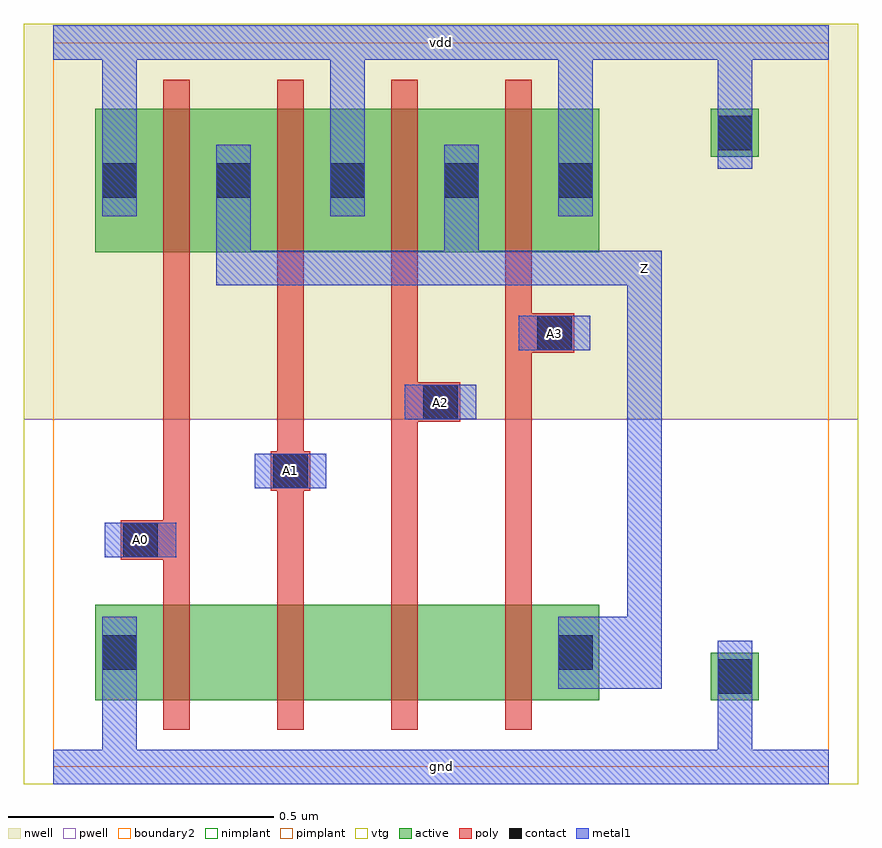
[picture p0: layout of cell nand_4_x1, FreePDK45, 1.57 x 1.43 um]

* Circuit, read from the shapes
.subckt nand_4_x1 A0 A1 A2 A3 Z gnd vdd
M1 sram_1rw0r0w_8_256_freepdk45_nmos_m1_w0_180_sm1_dactive_4/A3 A0 gnd gnd nfet w=0.18u l=0.05u
M2 sram_1rw0r0w_8_256_freepdk45_nmos_m1_w0_180_sactive_dactive_5/A3 A1 sram_1rw0r0w_8_256_freepdk45_nmos_m1_w0_180_sm1_dactive_4/A3 gnd nfet w=0.18u l=0.05u
M3 sram_1rw0r0w_8_256_freepdk45_nmos_m1_w0_180_sactive_dactive_6/A3 A2 sram_1rw0r0w_8_256_freepdk45_nmos_m1_w0_180_sactive_dactive_5/A3 gnd nfet w=0.18u l=0.05u
M4 Z A3 sram_1rw0r0w_8_256_freepdk45_nmos_m1_w0_180_sactive_dactive_6/A3 gnd nfet w=0.18u l=0.05u
M5 Z A0 vdd vdd pfet w=0.27u l=0.05u
M6 vdd A1 Z vdd pfet w=0.27u l=0.05u
M7 Z A2 vdd vdd pfet w=0.27u l=0.05u
M8 vdd A3 Z vdd pfet w=0.27u l=0.05u
.ends

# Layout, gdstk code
import gdstk
lib = gdstk.Library(unit=1e-6, precision=5e-10)
def R(c, l, rs):  # rectangles x0, y0, x1, y1
    for r in rs: c.add(gdstk.rectangle(r[:2], r[2:], *l))
def A(c, l, x, y, w, h, nx, ny, dx, dy):  # array of equal rectangles
    R(c, l, [(x+i*dx, y+j*dy, x+i*dx+w, y+j*dy+h) for i in range(nx) for j in range(ny)])
active = (1, 0)
pwell = (2, 0)
nwell = (3, 0)
nimplant = (4, 0)
pimplant = (5, 0)
vtg = (6, 0)
poly = (9, 0)
contact = (10, 0)
metal1 = (11, 0)
boundary2 = (239, 0)

sram_1rw0r0w_8_256_freep = lib.new_cell('sram_1rw0r0w_8_256_freepdk45_contact_11')
R(sram_1rw0r0w_8_256_freep, active, [(0,0.0225,0.09,0.1125)])
R(sram_1rw0r0w_8_256_freep, nwell, [(-0.055,-0.0325,0.145,0.1675)])
R(sram_1rw0r0w_8_256_freep, pimplant, [(0,0.0225,0.09,0.1125)])
R(sram_1rw0r0w_8_256_freep, contact, [(0.0125,0.035,0.0775,0.1)])
R(sram_1rw0r0w_8_256_freep, metal1, [(0.0125,0,0.0775,0.135)])
R(sram_1rw0r0w_8_256_freep, boundary2, [(-0.055,-0.0325,0.145,0.1675)])

c_sram_1rw0r0w_8_256_freep = lib.new_cell('sram_1rw0r0w_8_256_freepdk45_pmos_m1_w0_270_sm1_dm1')
R(c_sram_1rw0r0w_8_256_freep, active, [(0,0,0.305,0.27)])
R(c_sram_1rw0r0w_8_256_freep, nwell, [(-0.08,-0.08,0.385,0.35)])
R(c_sram_1rw0r0w_8_256_freep, pimplant, [(0,0,0.305,0.27)])
R(c_sram_1rw0r0w_8_256_freep, vtg, [(-0.08,-0.08,0.385,0.35)])
R(c_sram_1rw0r0w_8_256_freep, poly, [(0.1275,-0.055,0.1775,0.325), (0.1275,-0.055,0.1775,0.325)])
R(c_sram_1rw0r0w_8_256_freep, metal1, [(0.0125,0.0675,0.0775,0.2025), (0.2275,0.0675,0.2925,0.2025)])
R(c_sram_1rw0r0w_8_256_freep, boundary2, [(-0.08,-0.08,0.385,0.35)])
c_sram_1rw0r0w_8_256_freep.add(gdstk.Reference(sram_1rw0r0w_8_256_freep, (0,0.0675)))
c_sram_1rw0r0w_8_256_freep.add(gdstk.Reference(sram_1rw0r0w_8_256_freep, (0.215,0.0675)))
c_sram_1rw0r0w_8_256_freep.add(gdstk.Label('G', (0.1525,0.135), layer=9, texttype=0))
c_sram_1rw0r0w_8_256_freep.add(gdstk.Label('S', (0.045,0.135), layer=11, texttype=0))
c_sram_1rw0r0w_8_256_freep.add(gdstk.Label('A3', (0.26,0.135), layer=11, texttype=0))

c_sram_1rw0r0w_8_256_freep_ = lib.new_cell('sram_1rw0r0w_8_256_freepdk45_contact_10')
R(c_sram_1rw0r0w_8_256_freep_, active, [(0,0.0225,0.09,0.1125)])
R(c_sram_1rw0r0w_8_256_freep_, pwell, [(-0.055,-0.0325,0.145,0.1675)])
R(c_sram_1rw0r0w_8_256_freep_, nimplant, [(0,0.0225,0.09,0.1125)])
R(c_sram_1rw0r0w_8_256_freep_, contact, [(0.0125,0.035,0.0775,0.1)])
R(c_sram_1rw0r0w_8_256_freep_, metal1, [(0.0125,0,0.0775,0.135)])
R(c_sram_1rw0r0w_8_256_freep_, boundary2, [(-0.055,-0.0325,0.145,0.1675)])

c_sram_1rw0r0w_8_256_freep__ = lib.new_cell('sram_1rw0r0w_8_256_freepdk45_nmos_m1_w0_180_sm1_dactive')
R(c_sram_1rw0r0w_8_256_freep__, active, [(0,0,0.305,0.18), (0.215,0.045,0.305,0.135)])
R(c_sram_1rw0r0w_8_256_freep__, pwell, [(-0.08,-0.08,0.385,0.26)])
R(c_sram_1rw0r0w_8_256_freep__, nimplant, [(0,0,0.305,0.18)])
R(c_sram_1rw0r0w_8_256_freep__, vtg, [(-0.08,-0.08,0.385,0.26)])
R(c_sram_1rw0r0w_8_256_freep__, poly, [(0.1275,-0.055,0.1775,0.235), (0.1275,-0.055,0.1775,0.235)])
R(c_sram_1rw0r0w_8_256_freep__, metal1, [(0.0125,0.0225,0.0775,0.1575)])
R(c_sram_1rw0r0w_8_256_freep__, boundary2, [(-0.08,-0.08,0.385,0.26)])
c_sram_1rw0r0w_8_256_freep__.add(gdstk.Reference(c_sram_1rw0r0w_8_256_freep_, (0,0.0225)))
c_sram_1rw0r0w_8_256_freep__.add(gdstk.Label('G', (0.1525,0.09), layer=9, texttype=0))
c_sram_1rw0r0w_8_256_freep__.add(gdstk.Label('S', (0.045,0.09), layer=11, texttype=0))
c_sram_1rw0r0w_8_256_freep__.add(gdstk.Label('A3', (0.26,0.09), layer=1, texttype=0))

c_sram_1rw0r0w_8_256_freep___ = lib.new_cell('sram_1rw0r0w_8_256_freepdk45_nmos_m1_w0_180_sactive_dactive')
R(c_sram_1rw0r0w_8_256_freep___, active, [(0,0,0.305,0.18), (0,0.045,0.09,0.135), (0.215,0.045,0.305,0.135)])
R(c_sram_1rw0r0w_8_256_freep___, pwell, [(-0.08,-0.08,0.385,0.26)])
R(c_sram_1rw0r0w_8_256_freep___, nimplant, [(0,0,0.305,0.18)])
R(c_sram_1rw0r0w_8_256_freep___, vtg, [(-0.08,-0.08,0.385,0.26)])
R(c_sram_1rw0r0w_8_256_freep___, poly, [(0.1275,-0.055,0.1775,0.235), (0.1275,-0.055,0.1775,0.235)])
R(c_sram_1rw0r0w_8_256_freep___, boundary2, [(-0.08,-0.08,0.385,0.26)])
c_sram_1rw0r0w_8_256_freep___.add(gdstk.Label('G', (0.1525,0.09), layer=9, texttype=0))
c_sram_1rw0r0w_8_256_freep___.add(gdstk.Label('S', (0.045,0.09), layer=1, texttype=0))
c_sram_1rw0r0w_8_256_freep___.add(gdstk.Label('A3', (0.26,0.09), layer=1, texttype=0))

c_sram_1rw0r0w_8_256_freep____ = lib.new_cell('sram_1rw0r0w_8_256_freepdk45_nmos_m1_w0_180_sactive_dm1')
R(c_sram_1rw0r0w_8_256_freep____, active, [(0,0,0.305,0.18), (0,0.045,0.09,0.135)])
R(c_sram_1rw0r0w_8_256_freep____, pwell, [(-0.08,-0.08,0.385,0.26)])
R(c_sram_1rw0r0w_8_256_freep____, nimplant, [(0,0,0.305,0.18)])
R(c_sram_1rw0r0w_8_256_freep____, vtg, [(-0.08,-0.08,0.385,0.26)])
R(c_sram_1rw0r0w_8_256_freep____, poly, [(0.1275,-0.055,0.1775,0.235), (0.1275,-0.055,0.1775,0.235)])
R(c_sram_1rw0r0w_8_256_freep____, metal1, [(0.2275,0.0225,0.2925,0.1575)])
R(c_sram_1rw0r0w_8_256_freep____, boundary2, [(-0.08,-0.08,0.385,0.26)])
c_sram_1rw0r0w_8_256_freep____.add(gdstk.Reference(c_sram_1rw0r0w_8_256_freep_, (0.215,0.0225)))
c_sram_1rw0r0w_8_256_freep____.add(gdstk.Label('G', (0.1525,0.09), layer=9, texttype=0))
c_sram_1rw0r0w_8_256_freep____.add(gdstk.Label('S', (0.045,0.09), layer=1, texttype=0))
c_sram_1rw0r0w_8_256_freep____.add(gdstk.Label('A3', (0.26,0.09), layer=11, texttype=0))

c_sram_1rw0r0w_8_256_freep_____ = lib.new_cell('sram_1rw0r0w_8_256_freepdk45_contact_12')
R(c_sram_1rw0r0w_8_256_freep_____, active, [(0,0.0225,0.09,0.1125)])
R(c_sram_1rw0r0w_8_256_freep_____, nwell, [(-0.055,-0.0325,0.145,0.1675)])
R(c_sram_1rw0r0w_8_256_freep_____, nimplant, [(0,0.0225,0.09,0.1125)])
R(c_sram_1rw0r0w_8_256_freep_____, contact, [(0.0125,0.035,0.0775,0.1)])
R(c_sram_1rw0r0w_8_256_freep_____, metal1, [(0.0125,0,0.0775,0.135)])
R(c_sram_1rw0r0w_8_256_freep_____, boundary2, [(-0.055,-0.0325,0.145,0.1675)])

c_sram_1rw0r0w_8_256_freep______ = lib.new_cell('sram_1rw0r0w_8_256_freepdk45_contact_13')
R(c_sram_1rw0r0w_8_256_freep______, active, [(0,0.0225,0.09,0.1125)])
R(c_sram_1rw0r0w_8_256_freep______, pwell, [(-0.055,-0.0325,0.145,0.1675)])
R(c_sram_1rw0r0w_8_256_freep______, pimplant, [(0,0.0225,0.09,0.1125)])
R(c_sram_1rw0r0w_8_256_freep______, contact, [(0.0125,0.035,0.0775,0.1)])
R(c_sram_1rw0r0w_8_256_freep______, metal1, [(0.0125,0,0.0775,0.135)])
R(c_sram_1rw0r0w_8_256_freep______, boundary2, [(-0.055,-0.0325,0.145,0.1675)])

c_sram_1rw0r0w_8_256_freep_______ = lib.new_cell('sram_1rw0r0w_8_256_freepdk45_contact_14')
R(c_sram_1rw0r0w_8_256_freep_______, poly, [(0.03,0,0.105,0.075)])
R(c_sram_1rw0r0w_8_256_freep_______, contact, [(0.035,0.005,0.1,0.07)])
R(c_sram_1rw0r0w_8_256_freep_______, metal1, [(0,0.005,0.135,0.07)])
R(c_sram_1rw0r0w_8_256_freep_______, boundary2, [(0,0,0.135,0.075)])

nand_4_x1 = lib.new_cell('nand_4_x1')
R(nand_4_x1, pwell, [(-0.055,-0.0325,1.5175,0.655)])
R(nand_4_x1, nwell, [(-0.055,0.655,1.5175,1.4)])
R(nand_4_x1, vtg, [(-0.055,-0.0325,1.5175,0.655), (-0.055,0.655,1.5175,1.4)])
A(nand_4_x1, poly, 0.2075, 0.36, 0.05, 0.555, 4, 1, 0.215, 0)
R(nand_4_x1, poly, [(0.165,0.39,0.2075,0.465), (0.4225,0.52,0.4475,0.595), (0.6375,0.65,0.73,0.725), (0.8525,0.78,0.945,0.855)])
A(nand_4_x1, metal1, 0.0925, 1.0375, 0.065, 0.36, 3, 1, 0.43, 0)
R(nand_4_x1, metal1, [(0,-0.0325,1.4625,0.0325), (0.0925,-0.0325,0.1575,0.1475), (1.2525,0,1.3175,0.17), (0.985,0.1475,1.115,0.2825), (1.0825,0.1475,1.1475,0.94), (0.0975,0.395,0.2325,0.46), (0.38,0.525,0.515,0.59), (0.6625,0.655,0.7975,0.72), (0.8775,0.785,1.0125,0.85), (0.3075,0.9075,0.3725,0.9725), (0.34,0.9075,1.115,0.9725), (0.7375,0.9075,0.8025,0.9725), (0.77,0.9075,1.115,0.9725), (1.0825,0.9075,1.1475,0.9725), (0.3075,0.94,0.3725,1.105), (0.7375,0.94,0.8025,1.105), (1.2525,1.195,1.3175,1.365), (0,1.3325,1.4625,1.3975)])
R(nand_4_x1, boundary2, [(0,0,1.4625,1.365), (0,0,1.4625,1.365)])
nand_4_x1.add(gdstk.Reference(c_sram_1rw0r0w_8_256_freep, (0.08,0.97)))
nand_4_x1.add(gdstk.Reference(c_sram_1rw0r0w_8_256_freep, (0.295,0.97)))
nand_4_x1.add(gdstk.Reference(c_sram_1rw0r0w_8_256_freep, (0.51,0.97)))
nand_4_x1.add(gdstk.Reference(c_sram_1rw0r0w_8_256_freep, (0.725,0.97)))
nand_4_x1.add(gdstk.Reference(c_sram_1rw0r0w_8_256_freep__, (0.08,0.125)))
nand_4_x1.add(gdstk.Reference(c_sram_1rw0r0w_8_256_freep___, (0.295,0.125)))
nand_4_x1.add(gdstk.Reference(c_sram_1rw0r0w_8_256_freep___, (0.51,0.125)))
nand_4_x1.add(gdstk.Reference(c_sram_1rw0r0w_8_256_freep____, (0.725,0.125)))
nand_4_x1.add(gdstk.Reference(c_sram_1rw0r0w_8_256_freep_____, (1.24,1.1275)))
nand_4_x1.add(gdstk.Reference(c_sram_1rw0r0w_8_256_freep______, (1.24,0.1025)))
nand_4_x1.add(gdstk.Reference(c_sram_1rw0r0w_8_256_freep_______, (0.0975,0.39)))
nand_4_x1.add(gdstk.Reference(c_sram_1rw0r0w_8_256_freep_______, (0.38,0.52)))
nand_4_x1.add(gdstk.Reference(c_sram_1rw0r0w_8_256_freep_______, (0.6625,0.65)))
nand_4_x1.add(gdstk.Reference(c_sram_1rw0r0w_8_256_freep_______, (0.8775,0.78)))
nand_4_x1.add(gdstk.Label('A0', (0.165,0.4275), layer=11, texttype=0))
nand_4_x1.add(gdstk.Label('A1', (0.4475,0.5575), layer=11, texttype=0))
nand_4_x1.add(gdstk.Label('A2', (0.73,0.6875), layer=11, texttype=0))
nand_4_x1.add(gdstk.Label('A3', (0.945,0.8175), layer=11, texttype=0))
nand_4_x1.add(gdstk.Label('Z', (1.115,0.94), layer=11, texttype=0))
nand_4_x1.add(gdstk.Label('gnd', (0.7315,0), layer=11, texttype=0))
nand_4_x1.add(gdstk.Label('vdd', (0.7315,1.365), layer=11, texttype=0))

lib.write_gds('nand_4_x1.gds')
